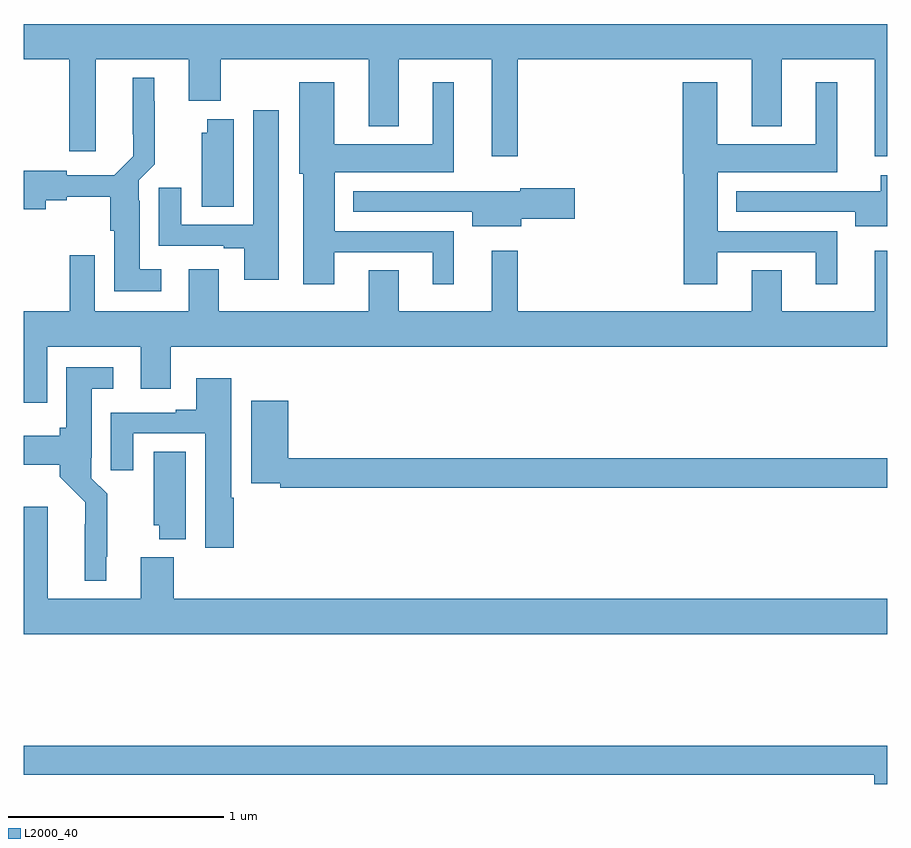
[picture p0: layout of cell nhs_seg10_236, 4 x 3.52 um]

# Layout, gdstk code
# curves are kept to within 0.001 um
import gdstk
lib = gdstk.Library(unit=1e-6, precision=1e-09)
def P(c, l, *ps):  # polygons
    for p in ps: c.add(gdstk.Polygon(p, *l))
L2000_40 = (2000, 40)

nhs_seg10_236 = lib.new_cell('nhs_seg10_236')
P(nhs_seg10_236, L2000_40, [(123.289,1324.292),(124.373,1324.292),(124.373,1323.983),(124.513,1323.983),(124.513,1324.292),(124.943,1324.292),(124.943,1323.843),(125,1323.843),(125,1324.456),(121,1324.456),(121,1324.292),(121.211,1324.292),(121.211,1323.867),(121.333,1323.867),(121.333,1324.292),(121.763,1324.292),(121.763,1324.1),(121.911,1324.1),(121.911,1324.292),(122.597,1324.292),(122.597,1323.983),(122.737,1323.983),(122.737,1324.292),(123.167,1324.292),(123.167,1323.843),(123.289,1323.843)],
  [(121.636,1323.319),(121.537,1323.319),(121.537,1323.638),(121.533,1323.638),(121.533,1323.732),(121.607,1323.806),(121.607,1324.097),(121.603,1324.097),(121.603,1324.207),(121.505,1324.207),(121.506,1323.844),(121.418,1323.756),(121.198,1323.756),(121.198,1323.776),(121,1323.776),(121,1323.598),(121.102,1323.598),(121.102,1323.64),(121.198,1323.64),(121.198,1323.655),(121.4,1323.655),(121.4,1323.498),(121.418,1323.498),(121.418,1323.218),(121.636,1323.218)],
  [(124.213,1323.399),(124.67,1323.399),(124.67,1323.249),(124.768,1323.249),(124.768,1323.495),(124.216,1323.495),(124.216,1323.77),(124.768,1323.77),(124.768,1324.186),(124.67,1324.186),(124.67,1323.898),(124.213,1323.898),(124.213,1324.186),(124.052,1324.186),(124.052,1323.762),(124.058,1323.762),(124.058,1323.249),(124.213,1323.249)],
  [(122.437,1323.399),(122.894,1323.399),(122.894,1323.249),(122.992,1323.249),(122.992,1323.495),(122.44,1323.495),(122.44,1323.77),(122.992,1323.77),(122.992,1324.186),(122.894,1324.186),(122.894,1323.898),(122.437,1323.898),(122.437,1324.186),(122.276,1324.186),(122.276,1323.762),(122.294,1323.762),(122.294,1323.249),(122.437,1323.249)],
  [(122.182,1324.057),(122.063,1324.057),(122.063,1323.525),(121.729,1323.525),(121.729,1323.697),(121.625,1323.697),(121.625,1323.429),(121.925,1323.429),(121.925,1323.417),(122.021,1323.417),(122.021,1323.27),(122.182,1323.27)],
  [(121.972,1324.015),(121.85,1324.015),(121.85,1323.951),(121.823,1323.951),(121.823,1323.61),(121.972,1323.61)],
  [(125,1323.756),(124.97,1323.756),(124.97,1323.681),(124.301,1323.681),(124.301,1323.585),(124.853,1323.585),(124.853,1323.518),(125,1323.518)],
  [(123.304,1323.553),(123.553,1323.553),(123.553,1323.695),(123.3,1323.695),(123.3,1323.682),(123.081,1323.682),(123.081,1323.681),(122.525,1323.681),(122.525,1323.585),(123.077,1323.585),(123.077,1323.518),(123.304,1323.518)],
  [(121.107,1322.96),(121.541,1322.96),(121.541,1322.766),(121.681,1322.766),(121.681,1322.96),(125,1322.96),(125,1323.406),(124.943,1323.406),(124.943,1323.124),(124.513,1323.124),(124.513,1323.314),(124.373,1323.314),(124.373,1323.124),(123.289,1323.124),(123.289,1323.406),(123.167,1323.406),(123.167,1323.124),(122.737,1323.124),(122.737,1323.314),(122.597,1323.314),(122.597,1323.124),(121.903,1323.124),(121.903,1323.319),(121.763,1323.319),(121.763,1323.124),(121.329,1323.124),(121.329,1323.385),(121.213,1323.385),(121.213,1323.124),(121,1323.124),(121,1322.7),(121.107,1322.7)],
  [(121.381,1321.987),(121.385,1321.987),(121.385,1322.278),(121.311,1322.352),(121.311,1322.446),(121.315,1322.446),(121.315,1322.765),(121.414,1322.765),(121.414,1322.866),(121.196,1322.866),(121.196,1322.586),(121.166,1322.586),(121.166,1322.548),(121,1322.548),(121,1322.414),(121.166,1322.414),(121.166,1322.358),(121.284,1322.24),(121.283,1321.877),(121.381,1321.877)],
  [(121.973,1322.261),(121.96,1322.261),(121.96,1322.815),(121.799,1322.815),(121.799,1322.668),(121.703,1322.668),(121.703,1322.655),(121.403,1322.655),(121.403,1322.388),(121.507,1322.388),(121.507,1322.559),(121.841,1322.559),(121.841,1322.028),(121.973,1322.028)],
  [(125,1322.444),(122.225,1322.444),(122.225,1322.71),(122.054,1322.71),(122.054,1322.328),(122.188,1322.328),(122.188,1322.308),(125,1322.308)],
  [(121.75,1322.474),(121.601,1322.474),(121.601,1322.133),(121.628,1322.133),(121.628,1322.069),(121.75,1322.069)],
  [(125,1321.792),(121.694,1321.792),(121.694,1321.984),(121.541,1321.984),(121.541,1321.792),(121.111,1321.792),(121.111,1322.218),(121,1322.218),(121,1321.628),(125,1321.628)],
  [(125,1321.112),(121,1321.112),(121,1320.976),(124.94,1320.976),(124.94,1320.934),(125,1320.934)])

lib.write_gds('nhs_seg10_236.gds')
